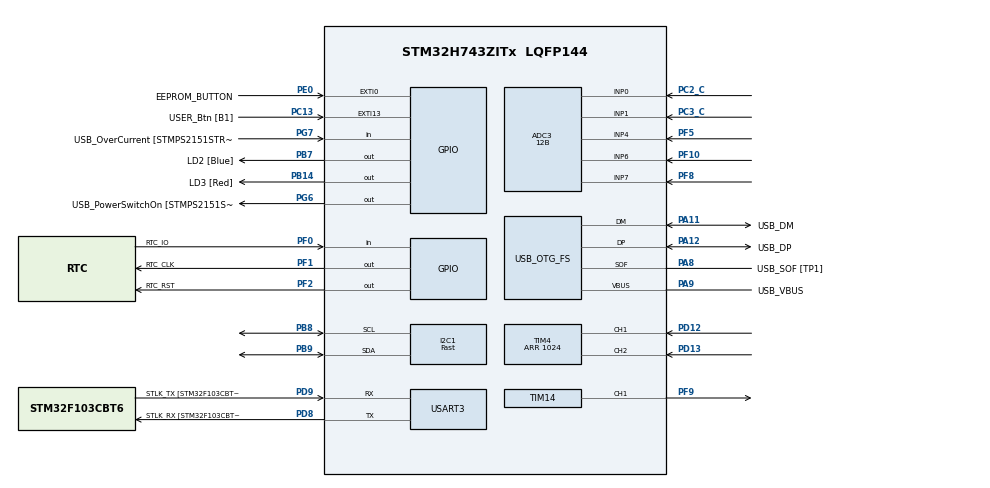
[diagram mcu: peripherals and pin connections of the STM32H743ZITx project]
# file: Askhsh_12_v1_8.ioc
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ADC3.Channel-0\#ChannelRegularConversion=ADC_CHANNEL_0
ADC3.ContinuousConvMode=ENABLE
ADC3.ConversionDataManagement=ADC_CONVERSIONDATA_DR
ADC3.EOCSelection=ADC_EOC_SINGLE_CONV
ADC3.NbrOfConversion=1
ADC3.Overrun=ADC_OVR_DATA_OVERWRITTEN
ADC3.Rank-0\#ChannelRegularConversion=1
ADC3.Resolution=ADC_RESOLUTION_12B
ADC3.SamplingTime-0\#ChannelRegularConversion=ADC_SAMPLETIME_2CYCLES_5
I2C1.CustomTiming=Enabled
I2C1.I2C_Speed_Mode=I2C_Fast
I2C1.Timing=0x10B0DCFB
Mcu.Family=STM32H7
Mcu.Name=STM32H743ZITx
Mcu.Package=LQFP144
NVIC.PriorityGroup=NVIC_PRIORITYGROUP_4
NVIC.TIM3_IRQn=true\:0\:0\:false\:false\:true\:true\:true
NVIC.TIM5_IRQn=true\:0\:0\:false\:false\:true\:true\:true
PA10.GPIO_Label=USB_ID
PA10.Signal=USB_OTG_FS_ID
PA11.GPIO_Label=USB_DM
PA11.Mode=Device_Only
PA11.Signal=USB_OTG_FS_DM
PA12.GPIO_Label=USB_DP
PA12.Mode=Device_Only
PA12.Signal=USB_OTG_FS_DP
PA8.GPIO_Label=USB_SOF [TP1]
PA8.Mode=Activate_SOF_FS
PA8.Signal=USB_OTG_FS_SOF
PA9.GPIO_Label=USB_VBUS
PA9.Mode=Activate_VBUS
PA9.Signal=USB_OTG_FS_VBUS
PB13.GPIO_Label=RMII_TXD1
PB13.Signal=ETH_TXD1
PB14.GPIO_Label=LD3 [Red]
PB14.Signal=GPIO_Output
PB7.GPIO_Label=LD2 [Blue]
PB7.Signal=GPIO_Output
PB8.GPIO_Pu=GPIO_PULLUP
PB8.GPIO_Speed=GPIO_SPEED_FREQ_HIGH
PB8.Mode=I2C
PB8.Signal=I2C1_SCL
PB9.GPIO_Pu=GPIO_PULLUP
PB9.GPIO_Speed=GPIO_SPEED_FREQ_HIGH
PB9.Mode=I2C
PB9.Signal=I2C1_SDA
PC1.GPIO_Label=RMII_MDC
PC1.Signal=ETH_MDC
PC13.GPIO_Label=USER_Btn [B1]
PC13.Signal=GPXTI13
PC14-OSC32_IN\ (OSC32_IN).Signal=RCC_OSC32_IN
PC15-OSC32_OUT\ (OSC32_OUT).Signal=RCC_OSC32_OUT
PC2_C.GPIO_Mode=GPIO_MODE_ANALOG
PC2_C.GPIO_PuPd=GPIO_NOPULL
PC2_C.Mode=IN0-Single-Ended
PC2_C.Signal=ADC3_INP0
PC3_C.Mode=IN1-Single-Ended
PC3_C.Signal=ADC3_INP1
PD12.Signal=S_TIM4_CH1
PD13.Signal=S_TIM4_CH2
PD8.GPIO_Label=STLK_RX [STM32F103CBT6_PA3]
PD8.Mode=Asynchronous
PD8.Signal=USART3_TX
PD9.GPIO_Label=STLK_TX [STM32F103CBT6_PA2]
PD9.Mode=Asynchronous
PD9.Signal=USART3_RX
PE0.GPIO_Label=EEPROM_BUTTON
PE0.Signal=GPXTI0
PF0.GPIO_Label=RTC_IO
PF0.Signal=GPIO_Input
PF1.GPIO_Label=RTC_CLK
PF1.Signal=GPIO_Output
PF10.Mode=IN6-Single-Ended
PF10.Signal=ADC3_INP6
PF2.GPIO_Label=RTC_RST
PF2.Signal=GPIO_Output
PF5.Mode=IN4-Single-Ended
PF5.Signal=ADC3_INP4
PF8.Mode=IN7-Single-Ended
PF8.Signal=ADC3_INP7
PF9.Signal=S_TIM14_CH1
PG11.GPIO_Label=RMII_TX_EN
PG11.Signal=ETH_TX_EN
PG13.GPIO_Label=RMII_TXD0
PG13.Signal=ETH_TXD0
PG6.GPIO_Label=USB_PowerSwitchOn [STMPS2151STR_EN]
PG6.Signal=GPIO_Output
PG7.GPIO_Label=USB_OverCurrent [STMPS2151STR_FAULT]
PG7.Signal=GPIO_Input
PH0-OSC_IN\ (PH0).GPIO_Label=MCO
PH0-OSC_IN\ (PH0).Signal=RCC_OSC_IN
PH1-OSC_OUT\ (PH1).Signal=RCC_OSC_OUT
ProjectManager.HeapSize=0x200
ProjectManager.StackSize=0x400
ProjectManager.TargetToolchain=STM32CubeIDE
RCC.48MHZClocksFreq_Value=24000000
RCC.ADCCLockSelection=RCC_ADCCLKSOURCE_CLKP
RCC.ADCFreq_Value=32000000
RCC.AHBFreq_Value=216000000
RCC.APB1CLKDivider=RCC_HCLK_DIV4
RCC.APB1Freq_Value=32000000
RCC.APB1TimFreq_Value=108000000
RCC.APB2CLKDivider=RCC_HCLK_DIV2
RCC.APB2Freq_Value=32000000
RCC.APB2TimFreq_Value=216000000
RCC.APB3Freq_Value=32000000
RCC.APB4Freq_Value=32000000
RCC.CECCLockSelection=RCC_CECCLKSOURCE_LSI
RCC.CKPERSourceSelection=RCC_CLKPSOURCE_HSI
RCC.CSI_VALUE=4000000
RCC.CortexFreq_Value=32000000
RCC.Cortex_DivARG=SystemCoreClock/1000
RCC.DFSDMCLockSelection=RCC_DFSDM1CLKSOURCE_D2PCLK1
RCC.DIVM1=1
RCC.DIVM2=1
RCC.DIVN1=37
RCC.DIVN2=37
RCC.DIVP2=1
RCC.DIVQ1=3
RCC.DSICLockSelection=RCC_DSICLKSOURCE_PHY
RCC.DSIPHY_Div=8
RCC.DSITX_Div=4
RCC.DSI_PHY_VALUE=12288000
RCC.EXTERNAL_CLOCK_VALUE=12288000
RCC.FDCANCLockSelection=RCC_FDCANCLKSOURCE_PLL
RCC.FMCCLockSelection=RCC_FMCCLKSOURCE_D1HCLK
RCC.HCLKFreq_Value=32000000
RCC.HSE_VALUE=8000000
RCC.HSIDiv=RCC_PLLSAIDIVR_2
RCC.HSI_VALUE=64000000
RCC.I2C123CLockSelection=RCC_I2C123CLKSOURCE_HSI
RCC.I2C4CLockSelection=RCC_I2C4CLKSOURCE_D3PCLK1
RCC.LPTIM1CLockSelection=RCC_LPTIM1CLKSOURCE_D2PCLK1
RCC.LPTIM2CLockSelection=RCC_LPTIM2CLKSOURCE_D3PCLK1
RCC.LPTIM345CLockSelection=RCC_LPTIM345CLKSOURCE_D3PCLK1
RCC.LPUART1CLockSelection=RCC_LPUART1CLKSOURCE_D3PCLK1
RCC.LSE_VALUE=32768
RCC.PLL1_VCI_Range-AdvancedSettings=RCC_PLL1VCIRANGE_0
RCC.PLL2_VCI_Range-AdvancedSettings=RCC_PLL2VCIRANGE_0
RCC.PLLDSIDev=2
RCC.PLLDSIIDF=DSI_PLL_IN_DIV1
RCC.PLLDSIMult=2
RCC.PLLDSINDIV=20
RCC.PLLDSIODF=DSI_PLL_OUT_DIV1
RCC.PLLM=25
RCC.PLLMUL=RCC_PLL_MUL9
RCC.PLLN=432
RCC.PLLQ=9
RCC.PLLSource=RCC_PLLSOURCE_CSI
RCC.PLLSourceVirtual=RCC_PLLSOURCE_CSI
RCC.PRESCALERUSB=RCC_USBCLKSOURCE_PLL_DIV1_5
RCC.QSPICLockSelection=RCC_QSPICLKSOURCE_D1HCLK
RCC.RC48_VALUE=48000000
RCC.RCC_MCO1Source=RCC_MCO1SOURCE_HSI
RCC.RCC_MCO2Source=RCC_MCO2SOURCE_SYSCLK
RCC.RNGCLockSelection=RCC_RNGCLKSOURCE_HSI48
RCC.SAI1CLockSelection=RCC_SAI1CLKSOURCE_PLL
RCC.SAI23CLockSelection=RCC_SAI23CLKSOURCE_PLL
RCC.SAI4ACLockSelection=RCC_SAI4ACLKSOURCE_PLL
RCC.SAI4BCLockSelection=RCC_SAI4BCLKSOURCE_PLL
RCC.SPDIFCLockSelection=RCC_SPDIFRXCLKSOURCE_PLL
RCC.SPI123CLockSelection=RCC_SPI123CLKSOURCE_PLL
RCC.SPI6CLockSelection=RCC_SPI6CLKSOURCE_D3PCLK1
RCC.SWPCLockSelection=RCC_SWPMI1CLKSOURCE_D2PCLK1
RCC.SYSCLKFreq_VALUE=32000000
RCC.SYSCLKSourceVirtual=RCC_SYSCLKSOURCE_PLLCLK
RCC.Spi45ClockSelection=RCC_SPI45CLKSOURCE_D2PCLK1
RCC.USART16CLockSelection=RCC_USART16CLKSOURCE_D2PCLK2
RCC.USART234578CLockSelection=RCC_USART234578CLKSOURCE_D2PCLK1
RCC.USBCLockSelection=RCC_USBCLKSOURCE_PLL
RCC.USBFreq_Value=49333333.333333336
RCC.VCOOutputFreq_Value=432000000
SH.S_TIM14_CH1.0=TIM14_CH1,PWM Generation1 CH1
SH.S_TIM4_CH1.0=TIM4_CH1,Encoder_Interface
SH.S_TIM4_CH2.0=TIM4_CH2,Encoder_Interface
TIM14.Channel=TIM_CHANNEL_1
TIM14.Period=1024
TIM3.AutoReloadPreload=TIM_AUTORELOAD_PRELOAD_DISABLE
TIM3.Period=10000-1
TIM3.Prescaler=32000-1
TIM4.AutoReloadPreload=TIM_AUTORELOAD_PRELOAD_ENABLE
TIM4.EncoderMode=TIM_ENCODERMODE_TI12
TIM4.Period=1024
TIM5.Period=1000-1
TIM5.Prescaler=32000-1
USART3.VirtualMode-Asynchronous=VM_ASYNC
USB_OTG_FS.VirtualMode=Device_Only
VP_TIM14_VS_ClockSourceINT.Mode=Enable_Timer
VP_TIM1_VS_ClockSourceINT.Mode=Internal
VP_TIM3_VS_ClockSourceINT.Mode=Internal
VP_TIM5_VS_ClockSourceINT.Mode=Internal
board=NUCLEO-H743ZI

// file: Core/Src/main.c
/* USER CODE BEGIN Header */
/**
  ******************************************************************************
  * @file           : main.c
  * @brief          : Main program body
  ******************************************************************************
  * @attention
  *
  * Copyright (c) 2023 STMicroelectronics.
  * All rights reserved.
  *
  * This software is licensed under terms that can be found in the LICENSE file
  * in the root directory of this software component.
  * If no LICENSE file comes with this software, it is provided AS-IS.
  *
  ******************************************************************************
  */
/* USER CODE END Header */
#include "main.h"

/* USER CODE BEGIN Includes */
#include "string.h"
#include "DS1302.h"
#include "ssd1306.h"
#include "stdio.h"
#include "ssd1306_fonts.h"
/* USER CODE END Includes */

/* USER CODE BEGIN PD */

#define MIN_TIME 1  // 1 second
#define MAX_TIME 300  // 5 minutes
#define MAX_ENCODER_VALUE 1024
#define TIME_STEP 10  // 10 seconds per detent
#define TOTAL_DETENTS ((MAX_TIME - MIN_TIME) / TIME_STEP)  // total number of detents
#define ENCODER_STEP (MAX_ENCODER_VALUE / TOTAL_DETENTS)
#define ADC_MAX 4095
#define DISPLAY_WIDTH 128
#define DISPLAY_HEIGHT 64
#define NUM_CHANNELS 5
#define START_X 20
#define START_Y 10
#define GAP_WIDTH 18
#define BAR_WIDTH 5 // Width of the bars. Adjust as desired.
#define ELEVATION 10
#define EEPROM_ADDRESS 0x50 // Device address of 24C64

int adc_flag=0;
int uartflag=0;
int i=0;
uint32_t setTiming1=1;
uint32_t scaledTime;
uint32_t encoderReading;
char uartBuf[50];
char buffer[20];
char graphbuffer[100];
char graphTimeBuffer[100];
int adcraw0=0;
int adcraw1=0;
int adcraw4=0;
int adcraw6=0;
int adcraw7=0;

int adcarray0[100];
int adcarray1[100];
int adcarray4[100];
int adcarray6[100];
int adcarray7[100];

uint32_t counter1=0;
uint32_t counter2=0;

int eepromflag=0;
uint32_t countereeprom=0;
char datalogbuf0[100];
char datalogbuf1[100];
char datalogbuf4[100];
char datalogbuf6[100];
char datalogbuf7[100];
uint32_t counterclk=0;

char adcbuffer0[50];
char adcbuffer1[50];
char adcbuffer4[50];
char adcbuffer6[50];
char adcbuffer7[50];
char time[8];
char time_to_set[8]={0,23,6,11,16,14,00,1};//Contr,Year,Mounth,Date,Hour,Min,Sec,Day
char timeBuffer[100];
char timeBuffer2[100];
char TimeArray[100][50];  // Array to store time events

/* USER CODE END PD */

ADC_HandleTypeDef hadc3;

I2C_HandleTypeDef hi2c1;

TIM_HandleTypeDef htim1;
TIM_HandleTypeDef htim3;
TIM_HandleTypeDef htim4;
TIM_HandleTypeDef htim5;
TIM_HandleTypeDef htim14;

UART_HandleTypeDef huart3;

PCD_HandleTypeDef hpcd_USB_OTG_FS;

void SystemClock_Config(void);
void PeriphCommonClock_Config(void);
static void MX_GPIO_Init(void);
static void MX_USART3_UART_Init(void);
static void MX_USB_OTG_FS_PCD_Init(void);
static void MX_I2C1_Init(void);
static void MX_ADC3_Init(void);
static void MX_TIM1_Init(void);
static void MX_TIM3_Init(void);
static void MX_TIM4_Init(void);
static void MX_TIM14_Init(void);
static void MX_TIM5_Init(void);

/* USER CODE BEGIN 0 */

//extern I2C_HandleTypeDef hi2c1;  // Assuming you have hi2c1 as your I2C handle
//
//void I2C_ScanBus(void)
//{
//    char msg[64];  // Message buffer
//
//    sprintf(msg, "Scanning I2C bus:\r\n");
//    HAL_UART_Transmit(&huart3, (uint8_t*)msg, strlen(msg), HAL_MAX_DELAY);
//
//    HAL_StatusTypeDef res;
//    for(uint16_t i = 0; i < 128; i++)
//    {
//        res = HAL_I2C_IsDeviceReady(&hi2c1, i << 1, 1, 10000);
//        if(res == HAL_OK)
//        {
//            sprintf(msg, "0x%02X\r\n", i);  // Device found
//            HAL_UART_Transmit(&huart3, (uint8_t*)msg, strlen(msg), HAL_MAX_DELAY);
//        }
//        else
//        {
//            sprintf(msg, ".");  // No device found
//            HAL_UART_Transmit(&huart3, (uint8_t*)msg, strlen(msg), HAL_MAX_DELAY);
//        }
//    }
//
//    sprintf(msg, "Scan completed\r\n");
//    HAL_UART_Transmit(&huart3, (uint8_t*)msg, strlen(msg), HAL_MAX_DELAY);
//}

void HAL_TIM_PeriodElapsedCallback(TIM_HandleTypeDef *htim)
{
  if (htim->Instance == TIM5)
  {
	  counterclk++;
	  counter2++;
	  countereeprom++;
	  adc_flag=0;
	  uartflag=0;
	  eepromflag=0;

	  if(counterclk>=setTiming1)
	  {
//	  dataloggerflag=1;

	  adc_flag=1;
	  counterclk=0;
	  }
	  if(counter2>=5)
	  {
		  uartflag=1;
		  counter2=0;
	  }
	  if(countereeprom>30)
	  {
		  eepromflag=1;
		  countereeprom=0;
	  }
    // Code to execute every 1 second interval
    // Place your desired actions here
  }
}

void eepromWrite()
{
	  HAL_GPIO_WritePin(LD2_GPIO_Port,LD2_Pin,SET);
	  for (uint16_t i = 0; i < 10; i++) {
	      EEPROM_Write(i, 0, (uint8_t*)&adcarray0[i], sizeof(int));
	  }
	  HAL_GPIO_WritePin(LD2_GPIO_Port,LD2_Pin,RESET);
}

void datalogger() ////5 lepta
{

	HAL_Delay(500);
	if(HAL_GPIO_ReadPin(GPIOC, USER_Btn_Pin)==1)
	{
	for (i=0; i<100; i++) // 10 gia test  288 gia 5 lepta gia na bgalw ola ta apothikeumena apo to datalogger_array na ta metatrepsw kai na ta dw sto hyper terminal
	{

	char buffer2[50];
	ssd1306_Fill(Black);

	ssd1306_SetCursor(0, 0); // Position the cursor for the first line
	ssd1306_WriteString("DATA LOGGER", Font_11x18, White);

	ssd1306_SetCursor(0, 20); // Position the cursor for the second line. Adjust the y-coordinate as needed based on your font size.
	ssd1306_WriteString("SENDING", Font_11x18, White);

	ssd1306_SetCursor(0, 40); // Position the cursor for the second line. Adjust the y-coordinate as needed based on your font size.
	ssd1306_WriteString("TO PuTTY", Font_11x18, White);

	ssd1306_UpdateScreen();
    sprintf(graphbuffer, "\n\r~~~~~~~~~~~~~~DATALOGGER~~~~~~~~~~~~~~~~\n\r");
    HAL_UART_Transmit(&huart3, (uint8_t*)graphbuffer, strlen(graphbuffer), 100);
    sprintf(graphTimeBuffer, "\n\r~~~~~~~~~~~~~~%s~~~~~~~~~~~~~~\n\r",TimeArray[i]);
    HAL_UART_Transmit(&huart3, (uint8_t*)graphTimeBuffer, strlen(graphTimeBuffer), 100);
    sprintf(datalogbuf0, "\n\r%d Channel 0  %2d\n\r", i,adcarray0[i]);
    HAL_UART_Transmit(&huart3, (uint8_t*)datalogbuf0, strlen(datalogbuf0), 100);
    sprintf(datalogbuf1, "\n\r   Channel 1  %2d\n\r", adcarray1[i]);
    HAL_UART_Transmit(&huart3, (uint8_t*)datalogbuf1, strlen(datalogbuf1), 100);
    sprintf(datalogbuf4, "\n\r   Channel 4  %2d\n\r", adcarray4[i]);
    HAL_UART_Transmit(&huart3, (uint8_t*)datalogbuf4, strlen(datalogbuf4), 100);
    sprintf(datalogbuf6, "\n\r   Channel 6  %2d\n\r", adcarray6[i]);
    HAL_UART_Transmit(&huart3, (uint8_t*)datalogbuf6, strlen(datalogbuf6), 100);
    sprintf(datalogbuf7, "\n\r   Channel 7  %2d\n\r", adcarray7[i]);
    HAL_UART_Transmit(&huart3, (uint8_t*)datalogbuf7, strlen(datalogbuf7), 100);

//    sprintf(datalogbuf2, " %c\n\r", datalogger_array_status[i]);
//    HAL_UART_Transmit(&huart3, (uint8_t*)datalogbuf2, strlen(datalogbuf2), 100);
	}
	ssd1306_Fill(Black);

	}

}

void ADC_CH0_SELECT()
{
	  ADC_ChannelConfTypeDef sConfig = {0};
	  sConfig.Channel = ADC_CHANNEL_0;
	  sConfig.Rank = ADC_REGULAR_RANK_1;
	  sConfig.SamplingTime = ADC_SAMPLETIME_2CYCLES_5;
	  sConfig.SingleDiff = ADC_SINGLE_ENDED;
	  sConfig.OffsetNumber = ADC_OFFSET_NONE;
	  sConfig.Offset = 0;
	  if (HAL_ADC_ConfigChannel(&hadc3, &sConfig) != HAL_OK)
	  {
	    Error_Handler();
	  }
}
void ADC_CH1_SELECT()
{
	  ADC_ChannelConfTypeDef sConfig = {0};
	  sConfig.Channel = ADC_CHANNEL_1;
	  sConfig.Rank = ADC_REGULAR_RANK_1;
	  sConfig.SamplingTime = ADC_SAMPLETIME_2CYCLES_5;
	  sConfig.SingleDiff = ADC_SINGLE_ENDED;
	  sConfig.OffsetNumber = ADC_OFFSET_NONE;
	  sConfig.Offset = 0;
	  if (HAL_ADC_ConfigChannel(&hadc3, &sConfig) != HAL_OK)
	  {
	    Error_Handler();
	  }
}
void ADC_CH4_SELECT()
{
	  ADC_ChannelConfTypeDef sConfig = {0};
	  sConfig.Channel = ADC_CHANNEL_4;
	  sConfig.Rank = ADC_REGULAR_RANK_1;
	  sConfig.SamplingTime = ADC_SAMPLETIME_2CYCLES_5;
	  sConfig.SingleDiff = ADC_SINGLE_ENDED;
	  sConfig.OffsetNumber = ADC_OFFSET_NONE;
	  sConfig.Offset = 0;
	  if (HAL_ADC_ConfigChannel(&hadc3, &sConfig) != HAL_OK)
	  {
	    Error_Handler();
	  }
}
void ADC_CH6_SELECT()
{
	  ADC_ChannelConfTypeDef sConfig = {0};
	  sConfig.Channel = ADC_CHANNEL_6;
	  sConfig.Rank = ADC_REGULAR_RANK_1;
	  sConfig.SamplingTime = ADC_SAMPLETIME_2CYCLES_5;
	  sConfig.SingleDiff = ADC_SINGLE_ENDED;
	  sConfig.OffsetNumber = ADC_OFFSET_NONE;
	  sConfig.Offset = 0;
	  if (HAL_ADC_ConfigChannel(&hadc3, &sConfig) != HAL_OK)
	  {
	    Error_Handler();
	  }
}
void ADC_CH7_SELECT()
{
	  ADC_ChannelConfTypeDef sConfig = {0};
	  sConfig.Channel = ADC_CHANNEL_7;
	  sConfig.Rank = ADC_REGULAR_RANK_1;
	  sConfig.SamplingTime = ADC_SAMPLETIME_2CYCLES_5;
	  sConfig.SingleDiff = ADC_SINGLE_ENDED;
	  sConfig.OffsetNumber = ADC_OFFSET_NONE;
	  sConfig.Offset = 0;
	  if (HAL_ADC_ConfigChannel(&hadc3, &sConfig) != HAL_OK)
	  {
	    Error_Handler();
	  }
}

void ADC_TAKE_ALL()
{

	HAL_GPIO_WritePin(LD3_GPIO_Port,LD3_Pin,SET);

	DS1302_ReadTime(time);
	sprintf(timeBuffer2,"\n\r %2d/%2d/%2d %2d:%2d:%2d \n\r",time[1],time[2],time[3],time[4],time[5],time[6]);
	strcpy(TimeArray[counter1], timeBuffer2);

    HAL_Delay(10);
    ADC_CH0_SELECT();
    HAL_ADC_Start(&hadc3);
    HAL_ADC_PollForConversion(&hadc3, 100);
    adcraw0 = HAL_ADC_GetValue(&hadc3);
    adcarray0[counter1]=adcraw0;
    HAL_ADC_Stop(&hadc3);
    HAL_Delay(10);
    ADC_CH1_SELECT();
    HAL_ADC_Start(&hadc3);
    HAL_ADC_PollForConversion(&hadc3, 100);
    adcraw1 = HAL_ADC_GetValue(&hadc3);
    adcarray1[counter1]=adcraw1;
    HAL_ADC_Stop(&hadc3);
    HAL_Delay(10);
    ADC_CH4_SELECT();
    HAL_ADC_Start(&hadc3);
    HAL_ADC_PollForConversion(&hadc3, 100);
    adcraw4 = HAL_ADC_GetValue(&hadc3);
    adcarray4[counter1]=adcraw4;
    HAL_ADC_Stop(&hadc3);
    HAL_Delay(10);
    ADC_CH6_SELECT();
    HAL_ADC_Start(&hadc3);
    HAL_ADC_PollForConversion(&hadc3, 100);
    adcraw6 = HAL_ADC_GetValue(&hadc3);
    adcarray6[counter1]=adcraw6;
    HAL_ADC_Stop(&hadc3);
    HAL_Delay(10);
    ADC_CH7_SELECT();
    HAL_ADC_Start(&hadc3);
    HAL_ADC_PollForConversion(&hadc3, 100);
    adcraw7 = HAL_ADC_GetValue(&hadc3);
    adcarray7[counter1]=adcraw7;
    HAL_ADC_Stop(&hadc3);
    HAL_GPIO_WritePin(LD3_GPIO_Port,LD3_Pin,RESET);

    counter1++;
    adc_flag=0;
}

void uarttrigger()
{
	DS1302_ReadTime(time);
	sprintf(timeBuffer,"\n\r %2d/%2d/%2d %2d:%2d:%2d \n\r",time[1],time[2],time[3],time[4],time[5],time[6]);

	HAL_UART_Transmit(&huart3, (uint8_t*)timeBuffer, strlen(timeBuffer), HAL_MAX_DELAY);

	sprintf(uartBuf, "Encoder count: %d\r\n", (int)TIM4->CNT);
	HAL_UART_Transmit(&huart3, (uint8_t*)uartBuf, strlen(uartBuf), HAL_MAX_DELAY);
    sprintf(buffer, "SetTime ADC:%ds\n", scaledTime);
	HAL_UART_Transmit(&huart3, (uint8_t*)buffer, strlen(buffer), HAL_MAX_DELAY);

	sprintf(adcbuffer0,"\n\r Channel 0  %2d \n\r",adcraw0);
	HAL_UART_Transmit(&huart3, (uint8_t*)adcbuffer0, strlen(adcbuffer0), HAL_MAX_DELAY);
	sprintf(adcbuffer1,"\n\r Channel 1  %2d \n\r",adcraw1);
	HAL_UART_Transmit(&huart3, (uint8_t*)adcbuffer1, strlen(adcbuffer1), HAL_MAX_DELAY);
	sprintf(adcbuffer4,"\n\r Channel 4  %2d \n\r",adcraw4);
	HAL_UART_Transmit(&huart3, (uint8_t*)adcbuffer4, strlen(adcbuffer4), HAL_MAX_DELAY);
	sprintf(adcbuffer6,"\n\r Channel 6  %2d \n\r",adcraw6);
	HAL_UART_Transmit(&huart3, (uint8_t*)adcbuffer6, strlen(adcbuffer6), HAL_MAX_DELAY);
	sprintf(adcbuffer7,"\n\r Channel 7  %2d \n\r",adcraw7);
	HAL_UART_Transmit(&huart3, (uint8_t*)adcbuffer7, strlen(adcbuffer7), HAL_MAX_DELAY);

	HAL_Delay(10);

}

/* USER CODE END 0 */

int main(void)
{

  /* MCU Configuration--------------------------------------------------------*/

  /* Reset of all peripherals, Initializes the Flash interface and the Systick. */
  HAL_Init();

  /* Configure the system clock */
  SystemClock_Config();

/* Configure the peripherals common clocks */
  PeriphCommonClock_Config();

  /* Initialize all configured peripherals */
  MX_GPIO_Init();
  MX_USART3_UART_Init();
  MX_USB_OTG_FS_PCD_Init();
  MX_I2C1_Init();
  MX_ADC3_Init();
  MX_TIM1_Init();
  MX_TIM3_Init();
  MX_TIM4_Init();
  MX_TIM14_Init();
  MX_TIM5_Init();
  /* USER CODE BEGIN 2 */
  ssd1306_Init();
  HAL_TIM_Base_Start_IT(&htim3);
  HAL_TIM_Base_Start_IT(&htim5);
  HAL_NVIC_EnableIRQ(TIM3_IRQn);
  HAL_TIM_Encoder_Start(&htim4, TIM_CHANNEL_ALL);
  HAL_TIM_PWM_Start(&htim14, TIM_CHANNEL_1);
  DS1302_Init();
  HAL_Delay(200);
	ssd1306_Fill(Black);

	ssd1306_SetCursor(0, 5); // Position the cursor for the first line
	ssd1306_WriteString("Teletos", Font_16x26, White);

	ssd1306_SetCursor(0, 35); // Position the cursor for the first line
	ssd1306_WriteString("Embedded", Font_16x26, White);
	ssd1306_UpdateScreen();
	 HAL_Delay(2000);
 // DS1302_WriteTime(time_to_set);
  /* USER CODE END 2 */

  /* Infinite loop */
  /* USER CODE BEGIN WHILE */
  while (1)
  {
//	  I2C_ScanBus();
	  if(HAL_GPIO_ReadPin(EEPROM_BUTTON_GPIO_Port, EEPROM_BUTTON_Pin)==0)
	  {
		  	ssd1306_Fill(Black);
		  	ssd1306_SetCursor(0, 0); // Position the cursor for the first line
		  	ssd1306_WriteString("EEPROM ", Font_11x18, White);
		  	ssd1306_SetCursor(0, 20); // Position the cursor for the first line
		  	ssd1306_WriteString("READ ", Font_11x18, White);
		  	ssd1306_UpdateScreen();
			for (uint16_t i = 0; i < 10; i++) {
			    EEPROM_Read(i, 0, (uint8_t*)&adcarray0[i], sizeof(int));

			    // Print the value using UART3
			    char uartBuffer[20];
			    sprintf(uartBuffer, "Value at index %d: %d\r\n", i, adcarray0[i]);
			    HAL_UART_Transmit(&huart3, (uint8_t*)uartBuffer, strlen(uartBuffer), HAL_MAX_DELAY);
				}
		  HAL_Delay(10);
	  }
	  ssd1306_Fill(Black);
	  if(uartflag==1)
	  {
		  uarttrigger();
		  uartflag=0;
	  }
      encoderReading = TIM4->CNT;  // Original reading
      int detents = encoderReading / ENCODER_STEP;
      scaledTime = MIN_TIME + (detents * TIME_STEP);
      if (scaledTime > MAX_TIME) {
          scaledTime = MIN_TIME;
      }
      if (scaledTime > MIN_TIME) {
          scaledTime = scaledTime-MIN_TIME;
      }
      if((encoderReading>1018)&&(encoderReading<=1024))
      {
    	  scaledTime=300;
      }
      // Scale the reading to a range of 1 second to 300 seconds
      // Scale the reading to a range of MIN_TIME to MAX_TIME

      // Round to the nearest multiple of 10

      setTiming1=(scaledTime);
      // Now scaledTime should be in the range of 1 second to 300 seconds
      sprintf(buffer, "SetTime ADC:%ds\n", scaledTime);

      ssd1306_SetCursor(13,56); // Adjust these values according to where you want the text to start
      ssd1306_WriteString(buffer, Font_6x8, White); // Replace with your font and color choice

      // take all the adc measurements
      if(counter1>99)
      {
    	  counter1=0;
      }

      if(adc_flag==1)
      {

    	  ADC_TAKE_ALL();
    	  adc_flag=0;

      }
      int barHeight1 = ((adcraw0 * (DISPLAY_HEIGHT - START_Y-ELEVATION)) / ADC_MAX);
      int barHeight2 = ((adcraw1 * (DISPLAY_HEIGHT - START_Y-ELEVATION)) / ADC_MAX);
      int barHeight3 = ((adcraw4 * (DISPLAY_HEIGHT - START_Y-ELEVATION)) / ADC_MAX);
      int barHeight4 = ((adcraw6 * (DISPLAY_HEIGHT - START_Y-ELEVATION)) / ADC_MAX);
      int barHeight5 = ((adcraw7 * (DISPLAY_HEIGHT - START_Y-ELEVATION)) / ADC_MAX);

      // Draw a filled rectangle for each bar
      ssd1306_DrawFilledRectangle(START_X + (0 * (BAR_WIDTH + GAP_WIDTH)), DISPLAY_HEIGHT - barHeight1-ELEVATION, BAR_WIDTH, barHeight1, White);
      ssd1306_DrawFilledRectangle(START_X + (1 * (BAR_WIDTH + GAP_WIDTH)), DISPLAY_HEIGHT - barHeight2-ELEVATION, BAR_WIDTH, barHeight2, White);
      ssd1306_DrawFilledRectangle(START_X + (2 * (BAR_WIDTH + GAP_WIDTH)), DISPLAY_HEIGHT - barHeight3-ELEVATION, BAR_WIDTH, barHeight3, White);
      ssd1306_DrawFilledRectangle(START_X + (3 * (BAR_WIDTH + GAP_WIDTH)), DISPLAY_HEIGHT - barHeight4-ELEVATION, BAR_WIDTH, barHeight4, White);
      ssd1306_DrawFilledRectangle(START_X + (4 * (BAR_WIDTH + GAP_WIDTH)), DISPLAY_HEIGHT - barHeight5-ELEVATION, BAR_WIDTH, barHeight5, White);

      // Label for each bar
      ssd1306_SetCursor(START_X + (0 * (BAR_WIDTH + GAP_WIDTH)), DISPLAY_HEIGHT - ELEVATION-45- 8);  // Assumes a font height
      ssd1306_WriteString("0", Font_6x8, White);  // Replace with your font
      ssd1306_SetCursor(START_X + (1 * (BAR_WIDTH + GAP_WIDTH)), DISPLAY_HEIGHT - ELEVATION-45- 8);  // Assumes a font height
      ssd1306_WriteString("1", Font_6x8, White);  // Replace with your font
      ssd1306_SetCursor(START_X + (2 * (BAR_WIDTH + GAP_WIDTH)), DISPLAY_HEIGHT - ELEVATION-45- 8);  // Assumes a font height
      ssd1306_WriteString("4", Font_6x8, White);  // Replace with your font
      ssd1306_SetCursor(START_X + (3 * (BAR_WIDTH + GAP_WIDTH)), DISPLAY_HEIGHT - ELEVATION-45- 8);  // Assumes a font height
      ssd1306_WriteString("6", Font_6x8, White);  // Replace with your font
      ssd1306_SetCursor(START_X + (4 * (BAR_WIDTH + GAP_WIDTH)), DISPLAY_HEIGHT - ELEVATION-45- 8);  // Assumes a font height
      ssd1306_WriteString("7", Font_6x8, White);  // Replace with your font

      ssd1306_UpdateScreen();

      if(HAL_GPIO_ReadPin(GPIOC, USER_Btn_Pin)==1)
      {
    	  datalogger();
      }

      if(eepromflag==1)
      {
    	  eepromWrite();
    	  eepromflag=0;
      }
    /* USER CODE END WHILE */

  }
}

void SystemClock_Config(void)
{
  RCC_OscInitTypeDef RCC_OscInitStruct = {0};
  RCC_ClkInitTypeDef RCC_ClkInitStruct = {0};

  /** Supply configuration update enable
  */
  HAL_PWREx_ConfigSupply(PWR_LDO_SUPPLY);
  /** Configure the main internal regulator output voltage
  */
  __HAL_PWR_VOLTAGESCALING_CONFIG(PWR_REGULATOR_VOLTAGE_SCALE3);

  while(!__HAL_PWR_GET_FLAG(PWR_FLAG_VOSRDY)) {}
  /** Initializes the RCC Oscillators according to the specified parameters
  * in the RCC_OscInitTypeDef structure.
  */
  RCC_OscInitStruct.OscillatorType = RCC_OSCILLATORTYPE_CSI|RCC_OSCILLATORTYPE_HSI;
  RCC_OscInitStruct.HSIState = RCC_HSI_DIV2;
  RCC_OscInitStruct.HSICalibrationValue = RCC_HSICALIBRATION_DEFAULT;
  RCC_OscInitStruct.CSIState = RCC_CSI_ON;
  RCC_OscInitStruct.CSICalibrationValue = RCC_CSICALIBRATION_DEFAULT;
  RCC_OscInitStruct.PLL.PLLState = RCC_PLL_ON;
  RCC_OscInitStruct.PLL.PLLSource = RCC_PLLSOURCE_CSI;
  RCC_OscInitStruct.PLL.PLLM = 1;
  RCC_OscInitStruct.PLL.PLLN = 37;
  RCC_OscInitStruct.PLL.PLLP = 2;
  RCC_OscInitStruct.PLL.PLLQ = 3;
  RCC_OscInitStruct.PLL.PLLR = 2;
  RCC_OscInitStruct.PLL.PLLRGE = RCC_PLL1VCIRANGE_2;
  RCC_OscInitStruct.PLL.PLLVCOSEL = RCC_PLL1VCOWIDE;
  RCC_OscInitStruct.PLL.PLLFRACN = 0;
  if (HAL_RCC_OscConfig(&RCC_OscInitStruct) != HAL_OK)
  {
    Error_Handler();
  }
  /** Initializes the CPU, AHB and APB buses clocks
  */
  RCC_ClkInitStruct.ClockType = RCC_CLOCKTYPE_HCLK|RCC_CLOCKTYPE_SYSCLK
                              |RCC_CLOCKTYPE_PCLK1|RCC_CLOCKTYPE_PCLK2
                              |RCC_CLOCKTYPE_D3PCLK1|RCC_CLOCKTYPE_D1PCLK1;
  RCC_ClkInitStruct.SYSCLKSource = RCC_SYSCLKSOURCE_HSI;
  RCC_ClkInitStruct.SYSCLKDivider = RCC_SYSCLK_DIV1;
  RCC_ClkInitStruct.AHBCLKDivider = RCC_HCLK_DIV1;
  RCC_ClkInitStruct.APB3CLKDivider = RCC_APB3_DIV1;
  RCC_ClkInitStruct.APB1CLKDivider = RCC_APB1_DIV1;
  RCC_ClkInitStruct.APB2CLKDivider = RCC_APB2_DIV1;
  RCC_ClkInitStruct.APB4CLKDivider = RCC_APB4_DIV1;

  if (HAL_RCC_ClockConfig(&RCC_ClkInitStruct, FLASH_LATENCY_0) != HAL_OK)
  {
    Error_Handler();
  }
}

void PeriphCommonClock_Config(void)
{
  RCC_PeriphCLKInitTypeDef PeriphClkInitStruct = {0};

  /** Initializes the peripherals clock
  */
  PeriphClkInitStruct.PeriphClockSelection = RCC_PERIPHCLK_CKPER;
  PeriphClkInitStruct.CkperClockSelection = RCC_CLKPSOURCE_HSI;
  if (HAL_RCCEx_PeriphCLKConfig(&PeriphClkInitStruct) != HAL_OK)
  {
    Error_Handler();
  }
}

static void MX_ADC3_Init(void)
{

  ADC_ChannelConfTypeDef sConfig = {0};

  /** Common config
  */
  hadc3.Instance = ADC3;
  hadc3.Init.ClockPrescaler = ADC_CLOCK_ASYNC_DIV1;
  hadc3.Init.Resolution = ADC_RESOLUTION_12B;
  hadc3.Init.ScanConvMode = ADC_SCAN_DISABLE;
  hadc3.Init.EOCSelection = ADC_EOC_SINGLE_CONV;
  hadc3.Init.LowPowerAutoWait = DISABLE;
  hadc3.Init.ContinuousConvMode = ENABLE;
  hadc3.Init.NbrOfConversion = 1;
  hadc3.Init.DiscontinuousConvMode = DISABLE;
  hadc3.Init.ExternalTrigConv = ADC_SOFTWARE_START;
  hadc3.Init.ExternalTrigConvEdge = ADC_EXTERNALTRIGCONVEDGE_NONE;
  hadc3.Init.ConversionDataManagement = ADC_CONVERSIONDATA_DR;
  hadc3.Init.Overrun = ADC_OVR_DATA_OVERWRITTEN;
  hadc3.Init.LeftBitShift = ADC_LEFTBITSHIFT_NONE;
  hadc3.Init.OversamplingMode = DISABLE;
  if (HAL_ADC_Init(&hadc3) != HAL_OK)
  {
    Error_Handler();
  }
  /** Configure Regular Channel
  */
  sConfig.Channel = ADC_CHANNEL_0;
  sConfig.Rank = ADC_REGULAR_RANK_1;
  sConfig.SamplingTime = ADC_SAMPLETIME_2CYCLES_5;
  sConfig.SingleDiff = ADC_SINGLE_ENDED;
  sConfig.OffsetNumber = ADC_OFFSET_NONE;
  sConfig.Offset = 0;
  if (HAL_ADC_ConfigChannel(&hadc3, &sConfig) != HAL_OK)
  {
    Error_Handler();
  }

}

static void MX_I2C1_Init(void)
{

  hi2c1.Instance = I2C1;
  hi2c1.Init.Timing = 0x10B0DCFB;
  hi2c1.Init.OwnAddress1 = 0;
  hi2c1.Init.AddressingMode = I2C_ADDRESSINGMODE_7BIT;
  hi2c1.Init.DualAddressMode = I2C_DUALADDRESS_DISABLE;
  hi2c1.Init.OwnAddress2 = 0;
  hi2c1.Init.OwnAddress2Masks = I2C_OA2_NOMASK;
  hi2c1.Init.GeneralCallMode = I2C_GENERALCALL_DISABLE;
  hi2c1.Init.NoStretchMode = I2C_NOSTRETCH_DISABLE;
  if (HAL_I2C_Init(&hi2c1) != HAL_OK)
  {
    Error_Handler();
  }
  /** Configure Analogue filter
  */
  if (HAL_I2CEx_ConfigAnalogFilter(&hi2c1, I2C_ANALOGFILTER_ENABLE) != HAL_OK)
  {
    Error_Handler();
  }
  /** Configure Digital filter
  */
  if (HAL_I2CEx_ConfigDigitalFilter(&hi2c1, 0) != HAL_OK)
  {
    Error_Handler();
  }

}

static void MX_TIM1_Init(void)
{

  TIM_ClockConfigTypeDef sClockSourceConfig = {0};
  TIM_MasterConfigTypeDef sMasterConfig = {0};

  htim1.Instance = TIM1;
  htim1.Init.Prescaler = 0;
  htim1.Init.CounterMode = TIM_COUNTERMODE_UP;
  htim1.Init.Period = 65535;
  htim1.Init.ClockDivision = TIM_CLOCKDIVISION_DIV1;
  htim1.Init.RepetitionCounter = 0;
  htim1.Init.AutoReloadPreload = TIM_AUTORELOAD_PRELOAD_DISABLE;
  if (HAL_TIM_Base_Init(&htim1) != HAL_OK)
  {
    Error_Handler();
  }
  sClockSourceConfig.ClockSource = TIM_CLOCKSOURCE_INTERNAL;
  if (HAL_TIM_ConfigClockSource(&htim1, &sClockSourceConfig) != HAL_OK)
  {
    Error_Handler();
  }
  sMasterConfig.MasterOutputTrigger = TIM_TRGO_RESET;
  sMasterConfig.MasterOutputTrigger2 = TIM_TRGO2_RESET;
  sMasterConfig.MasterSlaveMode = TIM_MASTERSLAVEMODE_DISABLE;
  if (HAL_TIMEx_MasterConfigSynchronization(&htim1, &sMasterConfig) != HAL_OK)
  {
    Error_Handler();
  }

}

static void MX_TIM3_Init(void)
{

  /* USER CODE BEGIN TIM3_Init 0 */
//
  /* USER CODE END TIM3_Init 0 */

  TIM_ClockConfigTypeDef sClockSourceConfig = {0};
  TIM_MasterConfigTypeDef sMasterConfig = {0};

  /* USER CODE BEGIN TIM3_Init 1 */
//
  /* USER CODE END TIM3_Init 1 */
  htim3.Instance = TIM3;
  htim3.Init.Prescaler = 32000-1;
  htim3.Init.CounterMode = TIM_COUNTERMODE_UP;
  htim3.Init.Period = 10000-1;
  htim3.Init.ClockDivision = TIM_CLOCKDIVISION_DIV1;
  htim3.Init.AutoReloadPreload = TIM_AUTORELOAD_PRELOAD_DISABLE;
  if (HAL_TIM_Base_Init(&htim3) != HAL_OK)
  {
    Error_Handler();
  }
  sClockSourceConfig.ClockSource = TIM_CLOCKSOURCE_INTERNAL;
  if (HAL_TIM_ConfigClockSource(&htim3, &sClockSourceConfig) != HAL_OK)
  {
    Error_Handler();
  }
  sMasterConfig.MasterOutputTrigger = TIM_TRGO_RESET;
  sMasterConfig.MasterSlaveMode = TIM_MASTERSLAVEMODE_DISABLE;
  if (HAL_TIMEx_MasterConfigSynchronization(&htim3, &sMasterConfig) != HAL_OK)
  {
    Error_Handler();
  }
  /* USER CODE BEGIN TIM3_Init 2 */
//
  /* USER CODE END TIM3_Init 2 */

}

static void MX_TIM4_Init(void)
{

  TIM_Encoder_InitTypeDef sConfig = {0};
  TIM_MasterConfigTypeDef sMasterConfig = {0};

  htim4.Instance = TIM4;
  htim4.Init.Prescaler = 0;
  htim4.Init.CounterMode = TIM_COUNTERMODE_UP;
  htim4.Init.Period = 1024;
  htim4.Init.ClockDivision = TIM_CLOCKDIVISION_DIV1;
  htim4.Init.AutoReloadPreload = TIM_AUTORELOAD_PRELOAD_ENABLE;
  sConfig.EncoderMode = TIM_ENCODERMODE_TI12;
  sConfig.IC1Polarity = TIM_ICPOLARITY_RISING;
  sConfig.IC1Selection = TIM_ICSELECTION_DIRECTTI;
  sConfig.IC1Prescaler = TIM_ICPSC_DIV1;
  sConfig.IC1Filter = 0;
  sConfig.IC2Polarity = TIM_ICPOLARITY_RISING;
  sConfig.IC2Selection = TIM_ICSELECTION_DIRECTTI;
  sConfig.IC2Prescaler = TIM_ICPSC_DIV1;
  sConfig.IC2Filter = 0;
  if (HAL_TIM_Encoder_Init(&htim4, &sConfig) != HAL_OK)
  {
    Error_Handler();
  }
  sMasterConfig.MasterOutputTrigger = TIM_TRGO_RESET;
  sMasterConfig.MasterSlaveMode = TIM_MASTERSLAVEMODE_DISABLE;
  if (HAL_TIMEx_MasterConfigSynchronization(&htim4, &sMasterConfig) != HAL_OK)
  {
    Error_Handler();
  }

}

static void MX_TIM5_Init(void)
{

  TIM_ClockConfigTypeDef sClockSourceConfig = {0};
  TIM_MasterConfigTypeDef sMasterConfig = {0};

  htim5.Instance = TIM5;
  htim5.Init.Prescaler = 32000-1;
  htim5.Init.CounterMode = TIM_COUNTERMODE_UP;
  htim5.Init.Period = 1000-1;
  htim5.Init.ClockDivision = TIM_CLOCKDIVISION_DIV1;
  htim5.Init.AutoReloadPreload = TIM_AUTORELOAD_PRELOAD_DISABLE;
  if (HAL_TIM_Base_Init(&htim5) != HAL_OK)
  {
    Error_Handler();
  }
  sClockSourceConfig.ClockSource = TIM_CLOCKSOURCE_INTERNAL;
  if (HAL_TIM_ConfigClockSource(&htim5, &sClockSourceConfig) != HAL_OK)
  {
    Error_Handler();
  }
  sMasterConfig.MasterOutputTrigger = TIM_TRGO_RESET;
  sMasterConfig.MasterSlaveMode = TIM_MASTERSLAVEMODE_DISABLE;
  if (HAL_TIMEx_MasterConfigSynchronization(&htim5, &sMasterConfig) != HAL_OK)
  {
    Error_Handler();
  }

}

static void MX_TIM14_Init(void)
{

  TIM_OC_InitTypeDef sConfigOC = {0};

  htim14.Instance = TIM14;
  htim14.Init.Prescaler = 0;
  htim14.Init.CounterMode = TIM_COUNTERMODE_UP;
  htim14.Init.Period = 1024;
  htim14.Init.ClockDivision = TIM_CLOCKDIVISION_DIV1;
  htim14.Init.AutoReloadPreload = TIM_AUTORELOAD_PRELOAD_DISABLE;
  if (HAL_TIM_Base_Init(&htim14) != HAL_OK)
  {
    Error_Handler();
  }
  if (HAL_TIM_PWM_Init(&htim14) != HAL_OK)
  {
    Error_Handler();
  }
  sConfigOC.OCMode = TIM_OCMODE_PWM1;
  sConfigOC.Pulse = 0;
  sConfigOC.OCPolarity = TIM_OCPOLARITY_HIGH;
  sConfigOC.OCFastMode = TIM_OCFAST_DISABLE;
  if (HAL_TIM_PWM_ConfigChannel(&htim14, &sConfigOC, TIM_CHANNEL_1) != HAL_OK)
  {
    Error_Handler();
  }
  HAL_TIM_MspPostInit(&htim14);

}

static void MX_USART3_UART_Init(void)
{

  huart3.Instance = USART3;
  huart3.Init.BaudRate = 115200;
  huart3.Init.WordLength = UART_WORDLENGTH_8B;
  huart3.Init.StopBits = UART_STOPBITS_1;
  huart3.Init.Parity = UART_PARITY_NONE;
  huart3.Init.Mode = UART_MODE_TX_RX;
  huart3.Init.HwFlowCtl = UART_HWCONTROL_NONE;
  huart3.Init.OverSampling = UART_OVERSAMPLING_16;
  huart3.Init.OneBitSampling = UART_ONE_BIT_SAMPLE_DISABLE;
  huart3.Init.ClockPrescaler = UART_PRESCALER_DIV1;
  huart3.AdvancedInit.AdvFeatureInit = UART_ADVFEATURE_NO_INIT;
  if (HAL_UART_Init(&huart3) != HAL_OK)
  {
    Error_Handler();
  }
  if (HAL_UARTEx_SetTxFifoThreshold(&huart3, UART_TXFIFO_THRESHOLD_1_8) != HAL_OK)
  {
    Error_Handler();
  }
  if (HAL_UARTEx_SetRxFifoThreshold(&huart3, UART_RXFIFO_THRESHOLD_1_8) != HAL_OK)
  {
    Error_Handler();
  }
  if (HAL_UARTEx_DisableFifoMode(&huart3) != HAL_OK)
  {
    Error_Handler();
  }

}

static void MX_USB_OTG_FS_PCD_Init(void)
{

  hpcd_USB_OTG_FS.Instance = USB_OTG_FS;
  hpcd_USB_OTG_FS.Init.dev_endpoints = 9;
  hpcd_USB_OTG_FS.Init.speed = PCD_SPEED_FULL;
  hpcd_USB_OTG_FS.Init.dma_enable = DISABLE;
  hpcd_USB_OTG_FS.Init.phy_itface = PCD_PHY_EMBEDDED;
  hpcd_USB_OTG_FS.Init.Sof_enable = ENABLE;
  hpcd_USB_OTG_FS.Init.low_power_enable = DISABLE;
  hpcd_USB_OTG_FS.Init.lpm_enable = DISABLE;
  hpcd_USB_OTG_FS.Init.battery_charging_enable = ENABLE;
  hpcd_USB_OTG_FS.Init.vbus_sensing_enable = ENABLE;
  hpcd_USB_OTG_FS.Init.use_dedicated_ep1 = DISABLE;
  if (HAL_PCD_Init(&hpcd_USB_OTG_FS) != HAL_OK)
  {
    Error_Handler();
  }

}

static void MX_GPIO_Init(void)
{
  GPIO_InitTypeDef GPIO_InitStruct = {0};

  /* GPIO Ports Clock Enable */
  __HAL_RCC_GPIOE_CLK_ENABLE();
  __HAL_RCC_GPIOC_CLK_ENABLE();
  __HAL_RCC_GPIOF_CLK_ENABLE();
  __HAL_RCC_GPIOH_CLK_ENABLE();
  __HAL_RCC_GPIOA_CLK_ENABLE();
  __HAL_RCC_GPIOB_CLK_ENABLE();
  __HAL_RCC_GPIOG_CLK_ENABLE();
  __HAL_RCC_GPIOD_CLK_ENABLE();

  /*Configure GPIO pin Output Level */
  HAL_GPIO_WritePin(GPIOF, RTC_CLK_Pin|RTC_RST_Pin, GPIO_PIN_RESET);

  /*Configure GPIO pin Output Level */
  HAL_GPIO_WritePin(GPIOB, LD3_Pin|LD2_Pin, GPIO_PIN_RESET);

  /*Configure GPIO pin Output Level */
  HAL_GPIO_WritePin(USB_PowerSwitchOn_GPIO_Port, USB_PowerSwitchOn_Pin, GPIO_PIN_RESET);

  /*Configure GPIO pins : PE2 PE3 PE4 PE5
                           PE6 PE7 PE8 PE9
                           PE10 PE11 PE12 PE13
                           PE14 PE15 PE1 */
  GPIO_InitStruct.Pin = GPIO_PIN_2|GPIO_PIN_3|GPIO_PIN_4|GPIO_PIN_5
                          |GPIO_PIN_6|GPIO_PIN_7|GPIO_PIN_8|GPIO_PIN_9
                          |GPIO_PIN_10|GPIO_PIN_11|GPIO_PIN_12|GPIO_PIN_13
                          |GPIO_PIN_14|GPIO_PIN_15|GPIO_PIN_1;
  GPIO_InitStruct.Mode = GPIO_MODE_ANALOG;
  GPIO_InitStruct.Pull = GPIO_NOPULL;
  HAL_GPIO_Init(GPIOE, &GPIO_InitStruct);

  /*Configure GPIO pin : USER_Btn_Pin */
  GPIO_InitStruct.Pin = USER_Btn_Pin;
  GPIO_InitStruct.Mode = GPIO_MODE_IT_RISING;
  GPIO_InitStruct.Pull = GPIO_NOPULL;
  HAL_GPIO_Init(USER_Btn_GPIO_Port, &GPIO_InitStruct);

  /*Configure GPIO pin : RTC_IO_Pin */
  GPIO_InitStruct.Pin = RTC_IO_Pin;
  GPIO_InitStruct.Mode = GPIO_MODE_INPUT;
  GPIO_InitStruct.Pull = GPIO_NOPULL;
  HAL_GPIO_Init(RTC_IO_GPIO_Port, &GPIO_InitStruct);

  /*Configure GPIO pins : RTC_CLK_Pin RTC_RST_Pin */
  GPIO_InitStruct.Pin = RTC_CLK_Pin|RTC_RST_Pin;
  GPIO_InitStruct.Mode = GPIO_MODE_OUTPUT_PP;
  GPIO_InitStruct.Pull = GPIO_NOPULL;
  GPIO_InitStruct.Speed = GPIO_SPEED_FREQ_LOW;
  HAL_GPIO_Init(GPIOF, &GPIO_InitStruct);

  /*Configure GPIO pins : PF3 PF4 PF6 PF7
                           PF11 PF12 PF13 PF14
                           PF15 */
  GPIO_InitStruct.Pin = GPIO_PIN_3|GPIO_PIN_4|GPIO_PIN_6|GPIO_PIN_7
                          |GPIO_PIN_11|GPIO_PIN_12|GPIO_PIN_13|GPIO_PIN_14
                          |GPIO_PIN_15;
  GPIO_InitStruct.Mode = GPIO_MODE_ANALOG;
  GPIO_InitStruct.Pull = GPIO_NOPULL;
  HAL_GPIO_Init(GPIOF, &GPIO_InitStruct);

  /*Configure GPIO pins : PC0 PC4 PC5 PC6
                           PC7 PC8 PC9 PC10
                           PC11 PC12 */
  GPIO_InitStruct.Pin = GPIO_PIN_0|GPIO_PIN_4|GPIO_PIN_5|GPIO_PIN_6
                          |GPIO_PIN_7|GPIO_PIN_8|GPIO_PIN_9|GPIO_PIN_10
                          |GPIO_PIN_11|GPIO_PIN_12;
  GPIO_InitStruct.Mode = GPIO_MODE_ANALOG;
  GPIO_InitStruct.Pull = GPIO_NOPULL;
  HAL_GPIO_Init(GPIOC, &GPIO_InitStruct);

  /*Configure GPIO pin : RMII_MDC_Pin */
  GPIO_InitStruct.Pin = RMII_MDC_Pin;
  GPIO_InitStruct.Mode = GPIO_MODE_AF_PP;
  GPIO_InitStruct.Pull = GPIO_NOPULL;
  GPIO_InitStruct.Speed = GPIO_SPEED_FREQ_LOW;
  GPIO_InitStruct.Alternate = GPIO_AF11_ETH;
  HAL_GPIO_Init(RMII_MDC_GPIO_Port, &GPIO_InitStruct);

  /*Configure GPIO pins : PA0 PA1 PA2 PA3
                           PA4 PA5 PA6 PA7
                           PA15 */
  GPIO_InitStruct.Pin = GPIO_PIN_0|GPIO_PIN_1|GPIO_PIN_2|GPIO_PIN_3
                          |GPIO_PIN_4|GPIO_PIN_5|GPIO_PIN_6|GPIO_PIN_7
                          |GPIO_PIN_15;
  GPIO_InitStruct.Mode = GPIO_MODE_ANALOG;
  GPIO_InitStruct.Pull = GPIO_NOPULL;
  HAL_GPIO_Init(GPIOA, &GPIO_InitStruct);

  /*Configure GPIO pins : PB0 PB1 PB2 PB10
                           PB11 PB12 PB15 PB4
                           PB5 PB6 */
  GPIO_InitStruct.Pin = GPIO_PIN_0|GPIO_PIN_1|GPIO_PIN_2|GPIO_PIN_10
                          |GPIO_PIN_11|GPIO_PIN_12|GPIO_PIN_15|GPIO_PIN_4
                          |GPIO_PIN_5|GPIO_PIN_6;
  GPIO_InitStruct.Mode = GPIO_MODE_ANALOG;
  GPIO_InitStruct.Pull = GPIO_NOPULL;
  HAL_GPIO_Init(GPIOB, &GPIO_InitStruct);

  /*Configure GPIO pins : PG0 PG1 PG2 PG3
                           PG4 PG5 PG8 PG9
                           PG10 PG12 PG14 PG15 */
  GPIO_InitStruct.Pin = GPIO_PIN_0|GPIO_PIN_1|GPIO_PIN_2|GPIO_PIN_3
                          |GPIO_PIN_4|GPIO_PIN_5|GPIO_PIN_8|GPIO_PIN_9
                          |GPIO_PIN_10|GPIO_PIN_12|GPIO_PIN_14|GPIO_PIN_15;
  GPIO_InitStruct.Mode = GPIO_MODE_ANALOG;
  GPIO_InitStruct.Pull = GPIO_NOPULL;
  HAL_GPIO_Init(GPIOG, &GPIO_InitStruct);

  /*Configure GPIO pin : RMII_TXD1_Pin */
  GPIO_InitStruct.Pin = RMII_TXD1_Pin;
  GPIO_InitStruct.Mode = GPIO_MODE_AF_PP;
  GPIO_InitStruct.Pull = GPIO_NOPULL;
  GPIO_InitStruct.Speed = GPIO_SPEED_FREQ_LOW;
  GPIO_InitStruct.Alternate = GPIO_AF11_ETH;
  HAL_GPIO_Init(RMII_TXD1_GPIO_Port, &GPIO_InitStruct);

  /*Configure GPIO pins : LD3_Pin LD2_Pin */
  GPIO_InitStruct.Pin = LD3_Pin|LD2_Pin;
  GPIO_InitStruct.Mode = GPIO_MODE_OUTPUT_PP;
  GPIO_InitStruct.Pull = GPIO_NOPULL;
  GPIO_InitStruct.Speed = GPIO_SPEED_FREQ_LOW;
  HAL_GPIO_Init(GPIOB, &GPIO_InitStruct);

  /*Configure GPIO pins : PD10 PD11 PD14 PD15
                           PD0 PD1 PD2 PD3
                           PD4 PD5 PD6 PD7 */
  GPIO_InitStruct.Pin = GPIO_PIN_10|GPIO_PIN_11|GPIO_PIN_14|GPIO_PIN_15
                          |GPIO_PIN_0|GPIO_PIN_1|GPIO_PIN_2|GPIO_PIN_3
                          |GPIO_PIN_4|GPIO_PIN_5|GPIO_PIN_6|GPIO_PIN_7;
  GPIO_InitStruct.Mode = GPIO_MODE_ANALOG;
  GPIO_InitStruct.Pull = GPIO_NOPULL;
  HAL_GPIO_Init(GPIOD, &GPIO_InitStruct);

  /*Configure GPIO pin : USB_PowerSwitchOn_Pin */
  GPIO_InitStruct.Pin = USB_PowerSwitchOn_Pin;
  GPIO_InitStruct.Mode = GPIO_MODE_OUTPUT_PP;
  GPIO_InitStruct.Pull = GPIO_NOPULL;
  GPIO_InitStruct.Speed = GPIO_SPEED_FREQ_LOW;
  HAL_GPIO_Init(USB_PowerSwitchOn_GPIO_Port, &GPIO_InitStruct);

  /*Configure GPIO pin : USB_OverCurrent_Pin */
  GPIO_InitStruct.Pin = USB_OverCurrent_Pin;
  GPIO_InitStruct.Mode = GPIO_MODE_INPUT;
  GPIO_InitStruct.Pull = GPIO_NOPULL;
  HAL_GPIO_Init(USB_OverCurrent_GPIO_Port, &GPIO_InitStruct);

  /*Configure GPIO pins : RMII_TX_EN_Pin RMII_TXD0_Pin */
  GPIO_InitStruct.Pin = RMII_TX_EN_Pin|RMII_TXD0_Pin;
  GPIO_InitStruct.Mode = GPIO_MODE_AF_PP;
  GPIO_InitStruct.Pull = GPIO_NOPULL;
  GPIO_InitStruct.Speed = GPIO_SPEED_FREQ_LOW;
  GPIO_InitStruct.Alternate = GPIO_AF11_ETH;
  HAL_GPIO_Init(GPIOG, &GPIO_InitStruct);

  /*Configure GPIO pin : EEPROM_BUTTON_Pin */
  GPIO_InitStruct.Pin = EEPROM_BUTTON_Pin;
  GPIO_InitStruct.Mode = GPIO_MODE_IT_RISING;
  GPIO_InitStruct.Pull = GPIO_NOPULL;
  HAL_GPIO_Init(EEPROM_BUTTON_GPIO_Port, &GPIO_InitStruct);

}

void Error_Handler(void)
{
  /* USER CODE BEGIN Error_Handler_Debug */
    char buffer[20];

    ssd1306_Fill(Black);

    sprintf(buffer, "gGMTXMMMMMMMMMMMM\n");
    ssd1306_SetCursor(0,0); // Adjust these values according to where you want the text to start
    ssd1306_WriteString(buffer, Font_7x10, White); // Replace with your font and color choice
    ssd1306_UpdateScreen();
  /* User can add his own implementation to report the HAL error return state */
  __disable_irq();
  while (1)
  {
  }
  /* USER CODE END Error_Handler_Debug */
}
